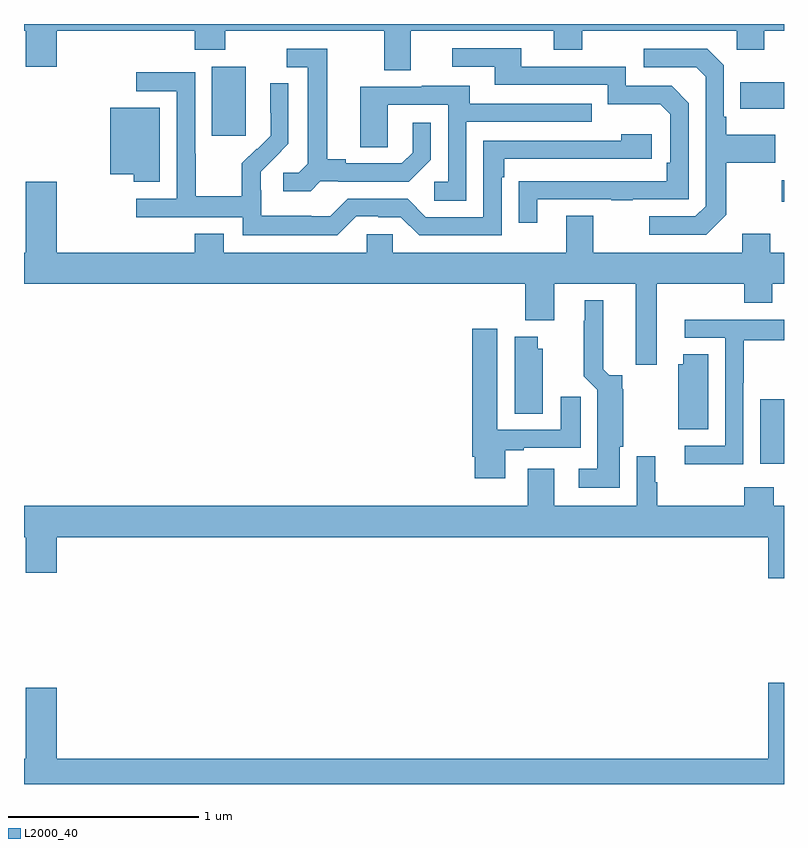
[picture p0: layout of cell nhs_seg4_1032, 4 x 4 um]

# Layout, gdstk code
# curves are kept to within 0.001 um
import gdstk
lib = gdstk.Library(unit=1e-6, precision=1e-09)
def R(c, l, rs):  # rectangles x0, y0, x1, y1
    for r in rs: c.add(gdstk.rectangle(r[:2], r[2:], *l))
def P(c, l, *ps):  # polygons
    for p in ps: c.add(gdstk.Polygon(p, *l))
L2000_40 = (2000, 40)

nhs_seg4_1032 = lib.new_cell('nhs_seg4_1032')
R(nhs_seg4_1032, L2000_40, [(168.875,750.585,169,750.925), (168.987,751.965,169,752.078), (165.989,752.313,166.168,752.674), (168.769,752.453,169,752.593)])
P(nhs_seg4_1032, L2000_40, [(167.035,752.864),(167.789,752.864),(167.789,752.765),(167.937,752.765),(167.937,752.864),(168.75,752.864),(168.75,752.765),(168.897,752.765),(168.897,752.864),(169,752.864),(169,752.9),(165,752.9),(165,752.864),(165.008,752.864),(165.008,752.676),(165.172,752.676),(165.172,752.864),(165.899,752.864),(165.899,752.765),(166.059,752.765),(166.059,752.864),(166.895,752.864),(166.895,752.656),(167.035,752.656)],
  [(167.701,751.977),(168.091,751.977),(168.091,751.972),(168.203,751.972),(168.203,751.977),(168.498,751.977),(168.498,752.484),(168.408,752.574),(168.168,752.574),(168.168,752.676),(167.617,752.676),(167.617,752.772),(167.253,752.772),(167.253,752.676),(167.477,752.676),(167.477,752.58),(168.072,752.58),(168.072,752.477),(168.349,752.477),(168.402,752.424),(168.402,752.17),(168.382,752.17),(168.382,752.073),(167.605,752.072),(167.605,751.854),(167.701,751.854)],
  [(168.697,751.897),(168.697,752.17),(168.953,752.17),(168.953,752.317),(168.697,752.317),(168.697,752.413),(168.684,752.413),(168.684,752.682),(168.597,752.769),(168.261,752.769),(168.261,752.673),(168.537,752.673),(168.588,752.622),(168.588,751.941),(168.534,751.887),(168.291,751.887),(168.291,751.791),(168.591,751.791)],
  [(166.56,752.073),(166.654,752.073),(166.654,752.07),(167.026,752.07),(167.142,752.186),(167.142,752.38),(167.045,752.38),(167.045,752.223),(166.988,752.166),(166.693,752.166),(166.693,752.189),(166.597,752.189),(166.597,752.769),(166.383,752.769),(166.383,752.673),(166.493,752.673),(166.493,752.165),(166.446,752.118),(166.365,752.118),(166.365,752.021),(166.508,752.021)],
  [(166.749,751.887),(166.865,751.887),(166.865,751.884),(166.983,751.884),(167.079,751.788),(167.514,751.788),(167.514,752.093),(167.527,752.093),(167.527,752.19),(168.304,752.19),(168.304,752.32),(168.143,752.32),(168.143,752.286),(167.418,752.286),(167.418,751.884),(167.115,751.884),(167.019,751.98),(166.704,751.98),(166.611,751.887),(166.511,751.887),(166.511,751.891),(166.248,751.891),(166.248,752.025),(166.246,752.025),(166.246,752.122),(166.392,752.27),(166.392,752.588),(166.296,752.588),(166.296,752.434),(166.298,752.434),(166.298,752.312),(166.227,752.241),(166.224,752.244),(166.147,752.167),(166.147,751.993),(165.903,751.993),(165.903,752.216),(165.9,752.216),(165.9,752.646),(165.591,752.646),(165.591,752.547),(165.804,752.547),(165.804,751.98),(165.591,751.98),(165.591,751.884),(166.152,751.884),(166.152,751.787),(166.649,751.787)],
  [(167.328,752.385),(167.987,752.385),(167.987,752.481),(167.347,752.481),(167.347,752.575),(167.093,752.575),(167.093,752.571),(166.769,752.571),(166.769,752.251),(166.914,752.251),(166.914,752.475),(167.232,752.475),(167.232,752.07),(167.16,752.07),(167.16,751.969),(167.328,751.969)],
  [(165.715,752.458),(165.455,752.458),(165.455,752.108),(165.577,752.108),(165.577,752.069),(165.715,752.069)],
  [(168.331,751.532),(168.79,751.532),(168.79,751.433),(168.937,751.433),(168.937,751.532),(169,751.532),(169,751.696),(168.927,751.696),(168.927,751.795),(168.779,751.795),(168.779,751.696),(167.995,751.696),(167.995,751.891),(167.855,751.891),(167.855,751.696),(166.941,751.696),(166.941,751.794),(166.803,751.794),(166.803,751.696),(166.051,751.696),(166.051,751.795),(165.899,751.795),(165.899,751.696),(165.172,751.696),(165.172,752.071),(165.008,752.071),(165.008,751.696),(165,751.696),(165,751.532),(167.639,751.532),(167.639,751.34),(167.791,751.34),(167.791,751.532),(168.221,751.532),(168.221,751.107),(168.331,751.107)],
  [(168.136,750.675),(168.154,750.675),(168.154,750.977),(168.148,750.983),(168.148,751.051),(168.081,751.051),(168.049,751.084),(168.049,751.447),(167.951,751.447),(167.951,751.337),(167.947,751.337),(167.947,751.046),(168.017,750.976),(168.017,750.559),(167.919,750.559),(167.919,750.458),(168.136,750.458)],
  [(168.786,751.012),(168.789,751.012),(168.789,751.236),(169,751.236),(169,751.344),(168.477,751.344),(168.477,751.248),(168.69,751.248),(168.69,750.681),(168.477,750.681),(168.477,750.583),(168.786,750.583)],
  [(167.533,750.657),(167.629,750.657),(167.629,750.669),(167.929,750.669),(167.929,750.937),(167.825,750.937),(167.825,750.765),(167.491,750.765),(167.491,751.297),(167.36,751.297),(167.36,750.622),(167.372,750.622),(167.372,750.51),(167.533,750.51)],
  [(167.731,751.191),(167.704,751.191),(167.704,751.255),(167.582,751.255),(167.582,750.85),(167.731,750.85)],
  [(168.601,751.163),(168.47,751.163),(168.47,751.11),(168.443,751.11),(168.443,750.766),(168.601,750.766)],
  [(169,750.364),(168.945,750.364),(168.945,750.463),(168.79,750.463),(168.79,750.364),(168.334,750.364),(168.334,750.488),(168.322,750.488),(168.322,750.625),(168.225,750.625),(168.225,750.364),(167.791,750.364),(167.791,750.559),(167.651,750.559),(167.651,750.364),(165,750.364),(165,750.2),(165.008,750.2),(165.008,750.012),(165.172,750.012),(165.172,750.2),(168.917,750.2),(168.917,749.982),(169,749.982)],
  [(169,749.434),(168.917,749.434),(168.917,749.032),(165.172,749.032),(165.172,749.407),(165.008,749.407),(165.008,749.032),(165,749.032),(165,748.9),(169,748.9)])

lib.write_gds('nhs_seg4_1032.gds')
